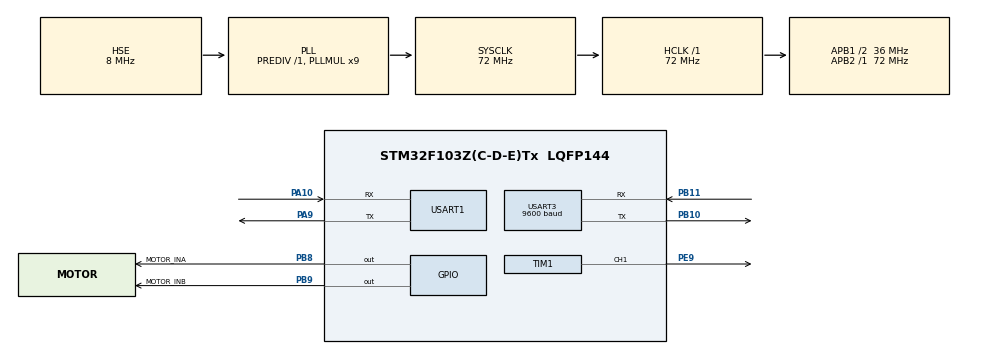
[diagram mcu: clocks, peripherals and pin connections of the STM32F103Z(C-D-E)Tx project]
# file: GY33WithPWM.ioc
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Mcu.Family=STM32F1
Mcu.Name=STM32F103Z(C-D-E)Tx
Mcu.Package=LQFP144
NVIC.PriorityGroup=NVIC_PRIORITYGROUP_2
NVIC.USART1_IRQn=true\:0\:0\:true\:false\:true\:true\:true\:true
NVIC.USART3_IRQn=true\:1\:0\:true\:false\:true\:true\:true\:true
OSC_IN.Mode=HSE-External-Oscillator
OSC_IN.Signal=RCC_OSC_IN
OSC_OUT.Mode=HSE-External-Oscillator
OSC_OUT.Signal=RCC_OSC_OUT
PA10.Mode=Asynchronous
PA10.Signal=USART1_RX
PA13.Mode=Serial_Wire
PA13.Signal=SYS_JTMS-SWDIO
PA14.Mode=Serial_Wire
PA14.Signal=SYS_JTCK-SWCLK
PA9.Mode=Asynchronous
PA9.Signal=USART1_TX
PB10.Mode=Asynchronous
PB10.Signal=USART3_TX
PB11.Mode=Asynchronous
PB11.Signal=USART3_RX
PB8.GPIO_Label=MOTOR_INA
PB8.GPIO_Speed=GPIO_SPEED_FREQ_MEDIUM
PB8.PinState=GPIO_PIN_SET
PB8.Signal=GPIO_Output
PB9.GPIO_Label=MOTOR_INB
PB9.GPIO_Speed=GPIO_SPEED_FREQ_MEDIUM
PB9.PinState=GPIO_PIN_SET
PB9.Signal=GPIO_Output
PE9.Signal=S_TIM1_CH1
ProjectManager.HeapSize=0x600
ProjectManager.StackSize=0x600
ProjectManager.TargetToolchain=MDK-ARM V5.32
RCC.AHBFreq_Value=72000000
RCC.APB1CLKDivider=RCC_HCLK_DIV2
RCC.APB1Freq_Value=36000000
RCC.APB1TimFreq_Value=72000000
RCC.APB2Freq_Value=72000000
RCC.APB2TimFreq_Value=72000000
RCC.HCLKFreq_Value=72000000
RCC.PLLMUL=RCC_PLL_MUL9
RCC.PLLSourceVirtual=RCC_PLLSOURCE_HSE
RCC.SYSCLKFreq_VALUE=72000000
RCC.SYSCLKSource=RCC_SYSCLKSOURCE_PLLCLK
RCC.USBFreq_Value=72000000
SH.S_TIM1_CH1.0=TIM1_CH1,PWM Generation1 CH1
TIM1.Channel-PWM\ Generation1\ CH1=TIM_CHANNEL_1
TIM1.Period=2499
TIM1.Prescaler=71
USART1.VirtualMode=VM_ASYNC
USART3.BaudRate=9600
USART3.VirtualMode=VM_ASYNC
VP_TIM1_VS_ClockSourceINT.Mode=Internal
board=custom

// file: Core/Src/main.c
/* USER CODE BEGIN Header */
/**
  ******************************************************************************
  * @file           : main.c
  * @brief          : Main program body
  ******************************************************************************
  * @attention
  *
  * Copyright (c) 2022 STMicroelectronics.
  * All rights reserved.
  *
  * This software is licensed under terms that can be found in the LICENSE file
  * in the root directory of this software component.
  * If no LICENSE file comes with this software, it is provided AS-IS.
  *
  ******************************************************************************
  */
/* USER CODE END Header */
#include "main.h"
#include "tim.h"
#include "usart.h"
#include "gpio.h"

/* USER CODE BEGIN Includes */
uint8_t rdata[3], ddata[8] = {0};
int arret = 0; // whether motor is stopped
int cnt0 = 0;
/* USER CODE END Includes */

void SystemClock_Config(void);

/* USER CODE BEGIN 0 */
// Send multi-byte data + checksum
void USART_Send(uint8_t *Buffer, uint8_t Length)
{
    uint8_t i = 0, res = 0;
    while (i < Length)
    {
        if (i < (Length - 1))
            Buffer[Length - 1] += Buffer[i]; // Accumulate data before Length-1
        i++;
    }
    res = HAL_UART_Transmit(&huart3, Buffer, Length, 1000);
}

void send_com(uint8_t data)
{
    uint8_t bytes[3] = {0};
    bytes[0] = 0xa5;
    bytes[1] = data; // Function byte
    USART_Send(bytes, 3); // Send frame header, function byte, and checksum
}
/* USER CODE END 0 */

int main(void)
{

  /* MCU Configuration--------------------------------------------------------*/

  /* Reset of all peripherals, Initializes the Flash interface and the Systick. */
  HAL_Init();

  /* Configure the system clock */
  SystemClock_Config();

  /* Initialize all configured peripherals */
  MX_GPIO_Init();
  MX_USART1_UART_Init();
  MX_TIM1_Init();
  MX_USART3_UART_Init();
  /* USER CODE BEGIN 2 */
  HAL_TIM_PWM_Start(&htim1, TIM_CHANNEL_1);   // Enable PWM this step is very very crucial
	__HAL_TIM_SET_COMPARE(&htim1, TIM_CHANNEL_1, 1124); // 2500*0.45-1=1124
	printf("New Set to 45%%\r\n");
	HAL_UART_Receive_IT(&huart1, rdata, sizeof(rdata)); // Enable UART Input interruptionS0_L;
	HAL_UART_Receive_IT(&huart3, ddata, sizeof(ddata));
	send_com(0xbb); // white balance
	//HAL_Delay(1500);
  /* USER CODE END 2 */

  /* Infinite loop */
  while (1)
  {

    /* USER CODE BEGIN 3 */
		if(!arret) {
			send_com(0x81); // query processed RGB
			HAL_Delay(480);
			cnt0++;
		}
  }
  /* USER CODE END 3 */
}

void SystemClock_Config(void)
{
  RCC_OscInitTypeDef RCC_OscInitStruct = {0};
  RCC_ClkInitTypeDef RCC_ClkInitStruct = {0};

  /** Initializes the RCC Oscillators according to the specified parameters
  * in the RCC_OscInitTypeDef structure.
  */
  RCC_OscInitStruct.OscillatorType = RCC_OSCILLATORTYPE_HSE;
  RCC_OscInitStruct.HSEState = RCC_HSE_ON;
  RCC_OscInitStruct.HSEPredivValue = RCC_HSE_PREDIV_DIV1;
  RCC_OscInitStruct.HSIState = RCC_HSI_ON;
  RCC_OscInitStruct.PLL.PLLState = RCC_PLL_ON;
  RCC_OscInitStruct.PLL.PLLSource = RCC_PLLSOURCE_HSE;
  RCC_OscInitStruct.PLL.PLLMUL = RCC_PLL_MUL9;
  if (HAL_RCC_OscConfig(&RCC_OscInitStruct) != HAL_OK)
  {
    Error_Handler();
  }

  /** Initializes the CPU, AHB and APB buses clocks
  */
  RCC_ClkInitStruct.ClockType = RCC_CLOCKTYPE_HCLK|RCC_CLOCKTYPE_SYSCLK
                              |RCC_CLOCKTYPE_PCLK1|RCC_CLOCKTYPE_PCLK2;
  RCC_ClkInitStruct.SYSCLKSource = RCC_SYSCLKSOURCE_PLLCLK;
  RCC_ClkInitStruct.AHBCLKDivider = RCC_SYSCLK_DIV1;
  RCC_ClkInitStruct.APB1CLKDivider = RCC_HCLK_DIV2;
  RCC_ClkInitStruct.APB2CLKDivider = RCC_HCLK_DIV1;

  if (HAL_RCC_ClockConfig(&RCC_ClkInitStruct, FLASH_LATENCY_2) != HAL_OK)
  {
    Error_Handler();
  }
}

void Error_Handler(void)
{
  __disable_irq();
  while (1)
  {
  }
}
